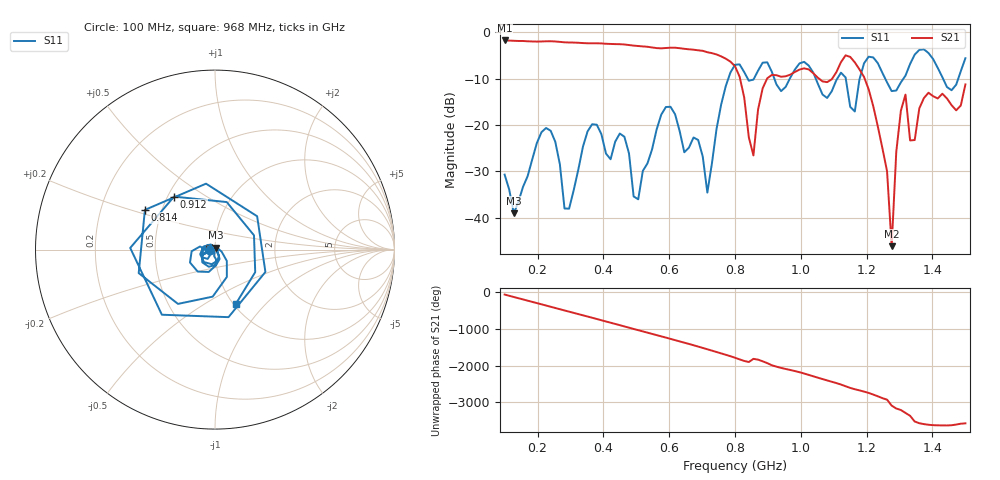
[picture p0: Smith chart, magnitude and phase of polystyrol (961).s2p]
! NanoVNA-App
! Date: 2025-09-25 15:37:21
! Start: 100MHz Stop: 1,5GHz Points: 101
! S-Parameter data: F S11 S21 S12 S22
# Hz S RI R 50
!  Frequency  S11_Real  S11_Imag  S21_Real  S21_Imag  S12_Real  S12_Imag  S22_Real  S22_Imag
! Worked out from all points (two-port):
!   101 points, 100 MHz to 1.5 GHz, reference 50 ohm
!   highest |S21| = -1.80 dB at 100 MHz (marker M1); lowest = -46.1 dB at 1.276 GHz (marker M2)
!   |S21| within 3 dB of the highest: start of sweep to 743 MHz
!   lowest |S11| = -39.1 dB at 128 MHz (marker M3), VSWR 1.02, Z = 50.3 + j1.06 ohm
!   |S11| at or under -10 dB: start of sweep to 779.8 MHz; 1.045 GHz to 1.111 GHz (65.78 MHz wide, 6.1 % of centre); 1.256 GHz to 1.312 GHz (55.83 MHz wide, 4.35 % of centre) (the widest 3 of 7)
!   S12 and S22 are empty: the file has one direction only
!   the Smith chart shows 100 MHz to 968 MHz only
!   S11 on the Smith chart (normalised r, x): 100 MHz: 0.94, -0.01; 814 MHz: 0.40, +0.22; 912 MHz: 0.54, +0.37; 968 MHz: 1.03, -0.69
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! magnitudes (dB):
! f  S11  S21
! 100 MHz  -30.7  -1.8
! 128 MHz  -39.1  -1.9
! 212 MHz  -21.6  -2.0
! 282 MHz  -38.0  -2.2
! 338 MHz  -24.7  -2.4
! 464 MHz  -22.6  -2.7
! 506 MHz  -36.0  -3.0
! 576 MHz  -17.8  -3.5
! 716 MHz  -34.6  -4.3
! 800 MHz  -7.0  -7.4
! 814 MHz  -7.0  -9.6
! 856 MHz  -10.2  -26.6
! 912 MHz  -8.6  -9.2
! 968 MHz  -9.8  -9.2
! 1.038 GHz  -8.8  -8.9
! 1.164 GHz  -17.1  -6.5
! 1.192 GHz  -6.7  -9.7
! 1.262 GHz  -10.8  -30.0
! 1.276 GHz  -12.7  -46.1
! 1.318 GHz  -9.4  -13.5
! 1.346 GHz  -4.8  -23.3
! 1.5 GHz  -5.6  -11.3
